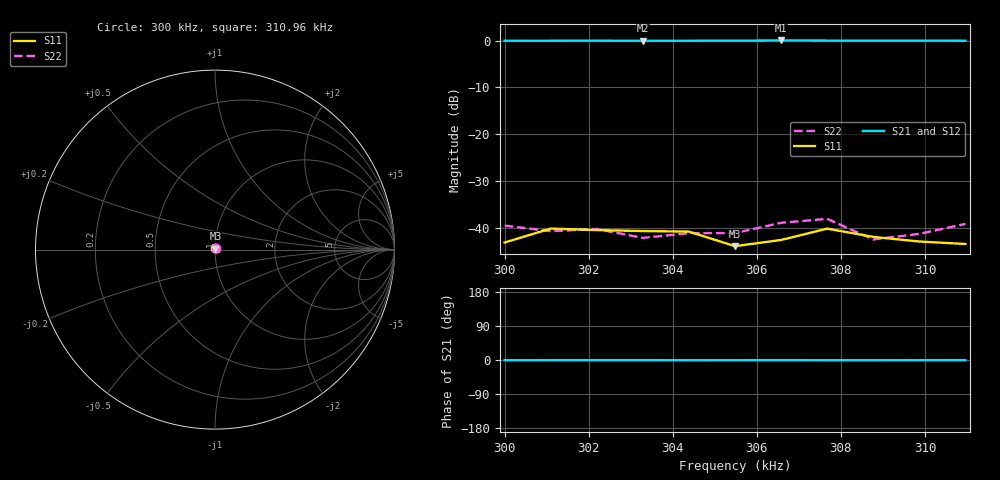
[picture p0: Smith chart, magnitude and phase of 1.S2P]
!Agilent Technologies,E5071C,MY46522545,B.13.01
!Date: Tue Sep 24 16:45:52 2019
!Data & Calibration Information:
!Freq	S11:SOLT2(ON)	S21:SOLT2(ON)	S12:SOLT2(ON)	S22:SOLT2(ON)
!PortZ  Port1:50+j0  Port2:50+j0
!Above PortZ is port z conversion or system Z0 setting when saving the data.
!When reading, reference impedance value at option line is always used.
# Hz S dB R 50
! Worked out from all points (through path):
!   11 points, 300 kHz to 310.96 kHz, reference 50 ohm
!   highest |S21| = 0.02 dB at 306.58 kHz (marker M1); lowest = 0.0 dB at 303.29 kHz (marker M2)
!   lowest |S11| = -43.8 dB at 305.48 kHz (marker M3), VSWR 1.01, Z = 50.2 + j0.597 ohm
!   |S11| at or under -10 dB: start of sweep to end of sweep
!   |S22| runs from -42.4 to -38.0 dB; largest |S21 - S12| = 0.0066
300000  -43.07 99.7  -0.04 -0.5  -0.02 -0.3  -39.46 67.4
301096  -40.09 100.0  -0.03 -0.4  -0.03 -0.4  -40.65 84.1
302192  -40.41 71.1  -0.02 -0.4  -0.04 -0.4  -40.19 87.4
303288  -40.62 76.4  -0.05 -0.3  -0.01 -0.4  -42.08 101.8
304384  -40.74 97.6  -0.03 -0.5  0.01 -0.5  -41.07 81.1
305480  -43.85 67.7  -0.01 -0.4  -0.05 -0.4  -41.06 70.5
306576  -42.52 87.4  0.02 -0.2  -0.01 -0.5  -38.87 96.8
307672  -40.11 90.5  0.00 -0.6  0.00 -0.6  -38.01 95.4
308768  -41.86 71.6  -0.02 -0.5  -0.01 -0.5  -42.42 93.5
309864  -42.85 107.5  0.00 -0.4  -0.04 -0.5  -41.22 55.5
310960  -43.38 48.8  -0.03 -0.3  -0.02 -0.5  -39.11 63.8
